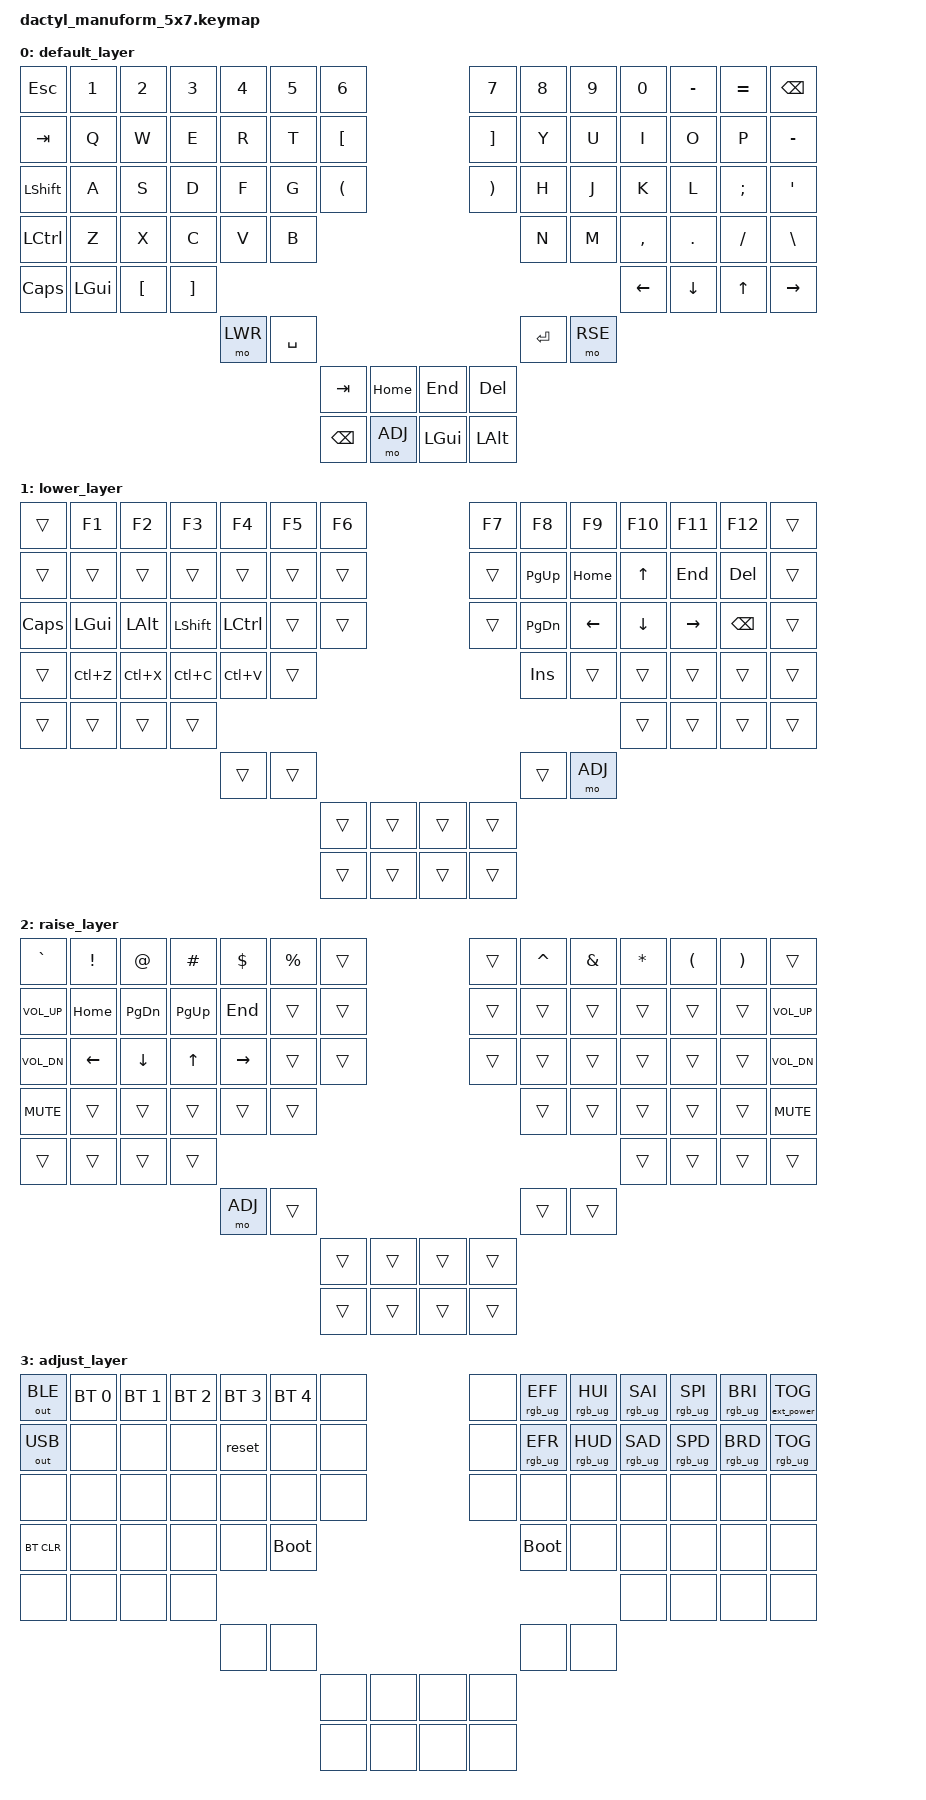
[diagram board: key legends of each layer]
#include <behaviors.dtsi>
#include <dt-bindings/zmk/keys.h>
#include <dt-bindings/zmk/bt.h>
#include <dt-bindings/zmk/rgb.h>
#include <dt-bindings/zmk/ext_power.h>
#include <dt-bindings/zmk/outputs.h>

#define DEFAULT 0
#define LWR 1
#define RSE 2
#define ADJ 3

/ {
    keymap {
        compatible = "zmk,keymap";

        default_layer {
            bindings = <
                &kp ESC   &kp N1   &kp N2 &kp N3 &kp N4 &kp N5 &kp N6                     &kp N7   &kp N8 &kp N9 &kp N0    &kp MINUS &kp EQUAL &kp BSPC
                &kp TAB   &kp Q  &kp W    &kp E  &kp R  &kp T  &kp LBKT                   &kp RBKT &kp Y  &kp U  &kp I     &kp O     &kp P     &kp MINUS
                &kp LSHFT &kp A  &kp S    &kp D  &kp F  &kp G  &kp LPAR                   &kp RPAR &kp H  &kp J  &kp K     &kp L     &kp SEMI  &kp SQT
                &kp LCTRL &kp Z  &kp X    &kp C  &kp V  &kp B                                      &kp N  &kp M  &kp COMMA &kp DOT   &kp FSLH  &kp BSLH
                &kp CAPS  &kp LGUI &kp LBKT &kp RBKT                                                             &kp LEFT  &kp DOWN  &kp UP    &kp RIGHT
                                                    &mo LWR  &kp SPACE                           &kp RET  &mo RSE
                                                             &kp TAB  &kp HOME   &kp END  &kp DEL
                                                             &kp BSPC &mo ADJ    &kp LGUI &kp LALT
            >;                                                                    
        };                                                                        
																	              
        lower_layer {                                                             
            bindings = <                                                          
                &trans   &kp F1    &kp F2    &kp F3    &kp F4    &kp F5 &kp F6          &kp F7 &kp F8    &kp F9   &kp F10  &kp F11   &kp F12  &trans
                &trans   &trans    &trans    &trans    &trans    &trans &trans          &trans &kp PG_UP &kp HOME &kp UP   &kp END   &kp DEL  &trans
                &kp CAPS &kp LGUI  &kp LALT  &kp LSHFT &kp LCTRL &trans &trans          &trans &kp PG_DN &kp LEFT &kp DOWN &kp RIGHT &kp BSPC &trans
                &trans   &kp LC(Z) &kp LC(X) &kp LC(C) &kp LC(V) &trans                        &kp INS   &trans   &trans   &trans    &trans   &trans
                &trans   &trans    &trans    &trans                                                               &trans   &trans    &trans   &trans
                                                    &trans &trans                                    &trans &mo ADJ
                                                           &trans &trans                      &trans &trans
                                                           &trans &trans                      &trans &trans											 
            >;                                                                    
        };                                                                        
																	              
        raise_layer {                                                             
            bindings = <                                                          
                &kp GRAVE    &kp EXCL &kp AT    &kp HASH  &kp DLLR  &kp PRCNT &trans         &trans &kp CARET &kp AMPS &kp ASTRK &kp LPAR &kp RPAR &trans
                &kp K_VOL_UP &kp HOME &kp PG_DN &kp PG_UP &kp END   &trans    &trans         &trans &trans    &trans   &trans    &trans   &trans   &kp K_VOL_UP
                &kp K_VOL_DN &kp LEFT &kp DOWN  &kp UP    &kp RIGHT &trans    &trans         &trans &trans    &trans   &trans    &trans   &trans   &kp K_VOL_DN
                &kp K_MUTE   &trans   &trans    &trans    &trans    &trans                          &trans    &trans   &trans    &trans   &trans   &kp K_MUTE
                &trans       &trans   &trans    &trans                                                                 &trans    &trans   &trans   &trans
                                                     &mo ADJ &trans                                    &trans &trans
                                                             &trans &trans                      &trans &trans
                                                             &trans &trans                      &trans &trans											 
            >;
        };

        adjust_layer {
            bindings = <
                &out OUT_BLE &bt BT_SEL 0 &bt BT_SEL 1 &bt BT_SEL 2 &bt BT_SEL 3 &bt BT_SEL 4 &none       &none &rgb_ug RGB_EFF &rgb_ug RGB_HUI &rgb_ug RGB_SAI &rgb_ug RGB_SPI &rgb_ug RGB_BRI &ext_power EP_TOG
                &out OUT_USB &none        &none        &none        &reset       &none        &none       &none &rgb_ug RGB_EFR &rgb_ug RGB_HUD &rgb_ug RGB_SAD &rgb_ug RGB_SPD &rgb_ug RGB_BRD &rgb_ug RGB_TOG
                &none        &none        &none        &none        &none        &none        &none       &none &none &none  &none &none &none &none
                &bt BT_CLR   &none        &none        &none        &none        &bootloader              &bootloader &none  &none &none &none &none
                &none        &none        &none        &none                                                                 &none &none &none &none
                                                            &none &none                                         &none &none
                                                                  &none &none                             &none &none
                                                                  &none &none                             &none &none
            >;
        };
    };
};
